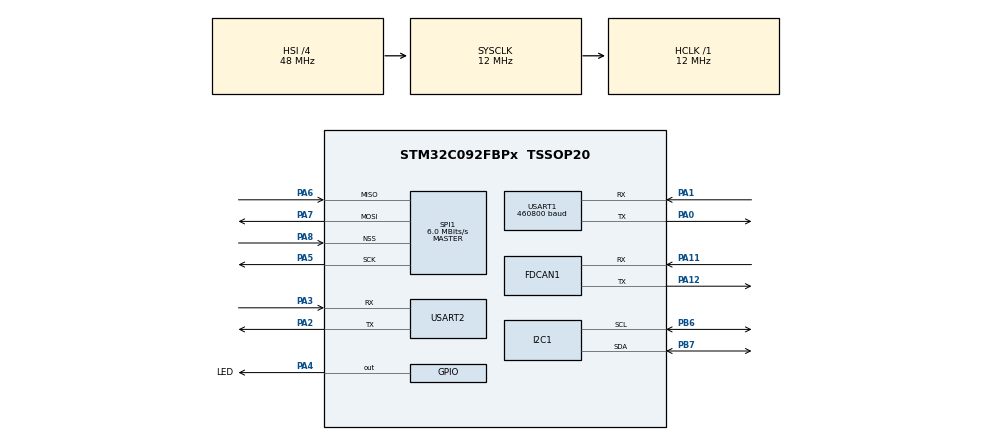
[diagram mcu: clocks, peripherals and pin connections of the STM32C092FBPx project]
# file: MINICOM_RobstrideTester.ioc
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Dma.Request0=USART1_TX
Dma.USART1_TX.0.Direction=DMA_MEMORY_TO_PERIPH
Dma.USART1_TX.0.EventEnable=DISABLE
Dma.USART1_TX.0.Instance=DMA1_Channel1
Dma.USART1_TX.0.MemDataAlignment=DMA_MDATAALIGN_BYTE
Dma.USART1_TX.0.MemInc=DMA_MINC_ENABLE
Dma.USART1_TX.0.Mode=DMA_NORMAL
Dma.USART1_TX.0.PeriphDataAlignment=DMA_PDATAALIGN_BYTE
Dma.USART1_TX.0.PeriphInc=DMA_PINC_DISABLE
Dma.USART1_TX.0.Polarity=HAL_DMAMUX_REQ_GEN_RISING
Dma.USART1_TX.0.Priority=DMA_PRIORITY_LOW
Dma.USART1_TX.0.RequestNumber=1
Dma.USART1_TX.0.SignalID=NONE
Dma.USART1_TX.0.SyncEnable=DISABLE
Dma.USART1_TX.0.SyncPolarity=HAL_DMAMUX_SYNC_NO_EVENT
Dma.USART1_TX.0.SyncRequestNumber=1
Dma.USART1_TX.0.SyncSignalID=NONE
FDCAN1.AutoRetransmission=DISABLE
FDCAN1.CalculateBaudRateNominal=1000000
FDCAN1.CalculateTimeBitNominal=1000
FDCAN1.CalculateTimeQuantumNominal=83.33333333333333
FDCAN1.NominalPrescaler=1
FDCAN1.NominalTimeSeg1=8
FDCAN1.NominalTimeSeg2=3
FDCAN1.StdFiltersNbr=1
I2C1.Timing=0x00402D41
Mcu.Family=STM32C0
Mcu.Name=STM32C092FBPx
Mcu.Package=TSSOP20
NVIC.DMA1_Channel1_IRQn=true\:0\:0\:false\:false\:true\:false\:true\:true
NVIC.FDCAN1_IT0_IRQn=true\:0\:0\:false\:false\:true\:true\:true\:true
NVIC.TIM16_IRQn=true\:0\:0\:false\:false\:true\:true\:true\:true
NVIC.USART1_IRQn=true\:0\:0\:false\:false\:true\:true\:true\:true
PA0.Mode=Asynchronous
PA0.Signal=USART1_TX
PA1.Mode=Asynchronous
PA1.Signal=USART1_RX
PA11\ [PA9].Mode=FDCAN_Activate
PA11\ [PA9].Signal=FDCAN1_RX
PA12\ [PA10].Mode=FDCAN_Activate
PA12\ [PA10].Signal=FDCAN1_TX
PA13.Mode=Serial_Wire
PA13.Signal=DEBUG_SWDIO
PA14-BOOT0.Mode=Serial_Wire
PA14-BOOT0.Signal=DEBUG_SWCLK
PA14-BOOT0__PA15.StandardMode=true
PA2.Mode=Asynchronous
PA2.Signal=USART2_TX
PA3.Mode=Asynchronous
PA3.Signal=USART2_RX
PA4.GPIO_Label=LED
PA4.Signal=GPIO_Output
PA5.Mode=Full_Duplex_Master
PA5.Signal=SPI1_SCK
PA6.Mode=Full_Duplex_Master
PA6.Signal=SPI1_MISO
PA7.Mode=Full_Duplex_Master
PA7.Signal=SPI1_MOSI
PA8.Mode=NSS_Signal_Hard_Input
PA8.Signal=SPI1_NSS
PB0__PB1__PB2__PA8.StandardMode=true
PB3__PB4__PB5__PB6.StandardMode=true
PB6.Mode=I2C
PB6.Signal=I2C1_SCL
PB7.Mode=I2C
PB7.Signal=I2C1_SDA
PB7__PB8.StandardMode=true
ProjectManager.HeapSize=0x200
ProjectManager.StackSize=0x400
ProjectManager.TargetToolchain=STM32CubeIDE
RCC.ADCFreq_Value=12000000
RCC.AHBFreq_Value=12000000
RCC.CortexFreq_Value=12000000
RCC.EXTERNAL_CLOCK_VALUE=12288000
RCC.HCLKFreq_Value=12000000
RCC.HSE_VALUE=8000000
RCC.HSI_VALUE=48000000
RCC.LSE_VALUE=32768
RCC.SYSCLKFreq_VALUE=12000000
SPI1.CalculateBaudRate=6.0 MBits/s
SPI1.Direction=SPI_DIRECTION_2LINES
SPI1.Mode=SPI_MODE_MASTER
SPI1.VirtualNSS=VM_NSSHARD
SPI1.VirtualType=VM_MASTER
TIM16.Period=1000-1
TIM16.Prescaler=12-1
USART1.BaudRate=460800
USART1.SwapParam=ADVFEATURE_SWAP_DISABLE
USART1.VirtualMode-Asynchronous=VM_ASYNC
USART2.VirtualMode-Asynchronous=VM_ASYNC
VP_TIM16_VS_ClockSourceINT.Mode=Enable_Timer
board=custom

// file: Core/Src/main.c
/* USER CODE BEGIN Header */
/**
  ******************************************************************************
  * @file           : main.c
  * @brief          : Main program body
  ******************************************************************************
  * @attention
  *
  * Copyright (c) 2026 STMicroelectronics.
  * All rights reserved.
  *
  * This software is licensed under terms that can be found in the LICENSE file
  * in the root directory of this software component.
  * If no LICENSE file comes with this software, it is provided AS-IS.
  *
  ******************************************************************************
  */
/* USER CODE END Header */
#include "main.h"

/* USER CODE BEGIN Includes */
#include "stdbool.h"
#include <stdlib.h>
#include <math.h>
/* USER CODE END Includes */

/* USER CODE BEGIN PTD */
typedef union {
    float f_val;
    uint8_t bytes[4];
} FloatConverter;
/* USER CODE END PTD */

/* USER CODE BEGIN PD */
#define SIN_TABLE_SIZE 1024
/* USER CODE END PD */

FDCAN_HandleTypeDef hfdcan1;

I2C_HandleTypeDef hi2c1;

SPI_HandleTypeDef hspi1;

TIM_HandleTypeDef htim16;

UART_HandleTypeDef huart1;
UART_HandleTypeDef huart2;
DMA_HandleTypeDef hdma_usart1_tx;

/* USER CODE BEGIN PV */

/*pc*/
uint8_t RxChar;
char RxBuffer[32];
int RxIndex=0;
volatile bool CanTxFlag = false;
volatile bool CanRxFlag = false;
uint32_t CanTxIde;
uint32_t CanTxId;
uint32_t CanTxDlc;
uint32_t CanRxIde;
uint32_t CanRxId;
uint32_t CanRxDlc;

/*can*/
FDCAN_TxHeaderTypeDef TxHeader;
uint8_t CanTxData[8] = {0};
uint32_t id;
uint8_t CanRxData[8];
FDCAN_RxHeaderTypeDef RxHeader;

/*Motor*/
int MotorId = 127;//0x7F
float TargetTorque = 0;
float Angle = 0;
float Velocity = 0;
float Torque = 0;
float Temp = 0;

/*PC*/
char tx_buffer[256];

/*その他*/
volatile bool state = false;
volatile int Timer_ms = 0;
float Freq = 4;
int McuId = 127;
int Hz = 1000;

float SinTable[SIN_TABLE_SIZE];
float Phase1 = 0.0f;
float Phase2 = 0.0f;
float Phase3 = 0.0f;
/* USER CODE END PV */

void SystemClock_Config(void);
static void MX_GPIO_Init(void);
static void MX_DMA_Init(void);
static void MX_FDCAN1_Init(void);
static void MX_I2C1_Init(void);
static void MX_SPI1_Init(void);
static void MX_USART2_UART_Init(void);
static void MX_USART1_UART_Init(void);
static void MX_TIM16_Init(void);
/* USER CODE BEGIN PFP */
static void FDCAN_Config(void){
	FDCAN_FilterTypeDef sFilterConfig;

	sFilterConfig.IdType = FDCAN_EXTENDED_ID;
	sFilterConfig.FilterIndex = 0;
	sFilterConfig.FilterType = FDCAN_FILTER_MASK;
	sFilterConfig.FilterConfig = FDCAN_FILTER_TO_RXFIFO0;
	sFilterConfig.FilterID1 = 0x02000000;
	sFilterConfig.FilterID2 = 0x1F000000;
	if(HAL_FDCAN_ConfigFilter(&hfdcan1, &sFilterConfig) != HAL_OK){
		Error_Handler();
	}
    /* Configure global filter to reject all non-matching frames */
    if(HAL_FDCAN_ConfigGlobalFilter(&hfdcan1, FDCAN_ACCEPT_IN_RX_FIFO0, FDCAN_ACCEPT_IN_RX_FIFO0, FDCAN_REJECT_REMOTE, FDCAN_REJECT_REMOTE) != HAL_OK){
        Error_Handler();
    }
	if(HAL_FDCAN_Start(&hfdcan1) != HAL_OK){
		Error_Handler();
	}
	if(HAL_FDCAN_ActivateNotification(&hfdcan1, FDCAN_IT_RX_FIFO0_NEW_MESSAGE, 0) != HAL_OK){
		Error_Handler();
	}
	TxHeader.Identifier = 0x123;
	TxHeader.IdType = FDCAN_EXTENDED_ID;
	TxHeader.TxFrameType = FDCAN_DATA_FRAME;
	TxHeader.DataLength = FDCAN_DLC_BYTES_8;
	TxHeader.ErrorStateIndicator = FDCAN_ESI_ACTIVE;
	TxHeader.BitRateSwitch = FDCAN_BRS_OFF;
	TxHeader.FDFormat = FDCAN_CLASSIC_CAN;
	TxHeader.TxEventFifoControl = FDCAN_NO_TX_EVENTS;
	TxHeader.MessageMarker = 0;
}
void HAL_FDCAN_RxFifo0Callback(FDCAN_HandleTypeDef *hfdcan, uint32_t RxFifo0ITs){
	uint8_t RxData[8];
	if((RxFifo0ITs & FDCAN_IT_RX_FIFO0_NEW_MESSAGE) != RESET){
		if(HAL_FDCAN_GetRxMessage(hfdcan, FDCAN_RX_FIFO0,&RxHeader, RxData)!= HAL_OK){
			Error_Handler();
		}
		CanRxIde = RxHeader.IdType;
		CanRxId = RxHeader.Identifier;
		CanRxDlc = RxHeader.DataLength;
		CanRxData[0] = RxData[0];                                                    // Data
		CanRxData[1] = RxData[1];
		CanRxData[2] = RxData[2];
		CanRxData[3] = RxData[3];
		CanRxData[4] = RxData[4];
		CanRxData[5] = RxData[5];
		CanRxData[6] = RxData[6];
		CanRxData[7] = RxData[7];
		CanRxFlag = true;
	}
}

void HAL_UART_RxCpltCallback(UART_HandleTypeDef *huart){
	if(huart->Instance==USART1){
		if(RxChar == 's'){//startのs
			state = 1;
			if (HAL_FDCAN_GetTxFifoFreeLevel(&hfdcan1) > 0) {
				TxHeader.Identifier = 0x3<<24 | McuId<<8 | MotorId;
				for(uint8_t i = 0; i<8; i++)CanTxData[i] = 0;
				if (HAL_FDCAN_AddMessageToTxFifoQ(&hfdcan1, &TxHeader, CanTxData) == HAL_OK) {
					//送信した時に行いたい処理
					HAL_GPIO_TogglePin(LED_GPIO_Port, LED_Pin);
				}
			}
		}else if(RxChar == 'e'){//endのe
			state = 0;
			Timer_ms=0;
			if (HAL_FDCAN_GetTxFifoFreeLevel(&hfdcan1) > 0) {
				TxHeader.Identifier = 0x4<<24 | McuId<<8 | MotorId;
				for(uint8_t i = 0; i<8; i++)CanTxData[i] = 0;
				if (HAL_FDCAN_AddMessageToTxFifoQ(&hfdcan1, &TxHeader, CanTxData) == HAL_OK) {
					//送信した時に行いたい処理
					HAL_GPIO_TogglePin(LED_GPIO_Port, LED_Pin);
				}
			}
		}
		HAL_UART_Receive_IT(&huart1, &RxChar,1);
	}
}

void HAL_TIM_PeriodElapsedCallback(TIM_HandleTypeDef *htim){
	if(htim == &htim16){//1msごとに呼び出される
		if(state){
			CanTxFlag = true;
			Timer_ms+=1000/Hz;//1msをプラス
		}else{
		}
	}
}

//uint32_t parseHex(char* str, int len){
//	uint32_t val = 0;
//	for(int i = 0;i<len;i++){
//		char c = str[i];
//		uint8_t v = 0;
//		if(c >= '0' && c<= '9') v = c - '0';//数字に変換
//		else if(c >= 'A' && c <= 'F') v = c - 'A' + 10;//大文字の16進数も10進数に変換
//		else if(c >= 'a' && c <= 'f') v = c - 'a' + 10;//小文字の16進数も10進数に変換
//		val = (val << 4) | v;
//	}
//	return val;
//}
/* USER CODE END PFP */

int main(void)
{

  /* MCU Configuration--------------------------------------------------------*/

  /* Reset of all peripherals, Initializes the Flash interface and the Systick. */
  HAL_Init();

  /* Configure the system clock */
  SystemClock_Config();

  /* Initialize all configured peripherals */
  MX_GPIO_Init();
  MX_DMA_Init();
  MX_FDCAN1_Init();
  MX_I2C1_Init();
  MX_SPI1_Init();
  MX_USART2_UART_Init();
  MX_USART1_UART_Init();
  MX_TIM16_Init();
  /* USER CODE BEGIN 2 */
  FDCAN_Config();
  HAL_UART_Receive_IT(&huart1, &RxChar, 1);
  HAL_TIM_Base_Start_IT(&htim16);

  if (HAL_FDCAN_GetTxFifoFreeLevel(&hfdcan1) > 0) {
	  TxHeader.Identifier = 0x3<<24 | McuId<<8 | MotorId;
	  for(uint8_t i = 0; i<8; i++)CanTxData[i] = 0;
	  if (HAL_FDCAN_AddMessageToTxFifoQ(&hfdcan1, &TxHeader, CanTxData) == HAL_OK) {
		  //送信した時に行いたい処理
		  HAL_GPIO_TogglePin(LED_GPIO_Port, LED_Pin);
	  }
  }

  for(int i = 0; i<SIN_TABLE_SIZE; i++){
	  SinTable[i] = sinf(2.0f*(float)M_PI*(float)i/(float)SIN_TABLE_SIZE);
  }
  /* USER CODE END 2 */

  /* Infinite loop */
  /* USER CODE BEGIN WHILE */
  while (1)
  {
	  if(CanRxFlag){
		  static uint8_t sendToPc[12];
		  sendToPc[0] = Timer_ms & 0x000000ff;
		  sendToPc[1] = (Timer_ms & 0x0000ff00) >> 8;
		  sendToPc[2] = (Timer_ms & 0x00ff0000) >> 16;
		  sendToPc[3] = (Timer_ms & 0xff000000) >> 24;
		  sendToPc[4] = CanRxData[0];
		  sendToPc[5] = CanRxData[1];
		  sendToPc[6] = CanRxData[2];
		  sendToPc[7] = CanRxData[3];
		  sendToPc[8] = CanRxData[4];
		  sendToPc[9] = CanRxData[5];
		  sendToPc[10] = CanRxData[6];
		  sendToPc[11] = CanRxData[7];
		  HAL_UART_Transmit(&huart1, sendToPc , 12, 100);//64bit + 32bit = 96bit = 12byte
//		  if(huart1.gState != HAL_UART_STATE_BUSY_TX){
//			  HAL_UART_Transmit_DMA(&huart1, sendToPc, 12);
//		  }
		  CanRxFlag=false;
	  }

	  if(CanTxFlag){
		  //目標トルクをマルチサイン波にしたければこちら
		  float delta_phase1 = Freq * 0.001f;
		  float delta_phase2 = 3.4f * Freq * 0.001f;
		  float delta_phase3 = 7.4f * Freq * 0.001f;

		  Phase1 += delta_phase1;
		  Phase2 += delta_phase2;
		  Phase3 += delta_phase3;

		  if(Phase1 >= 1.0f) Phase1 -= 1.0f;
		  if(Phase2 >= 1.0f) Phase2 -= 1.0f;
		  if(Phase3 >= 1.0f) Phase3 -= 1.0f;

		  int idx1 = (int)(Phase1 * SIN_TABLE_SIZE);
		  int idx2 = (int)(Phase2 * SIN_TABLE_SIZE);
		  int idx3 = (int)(Phase3 * SIN_TABLE_SIZE);

		  if(idx1 >= SIN_TABLE_SIZE) idx1 = 0;
		  if(idx2 >= SIN_TABLE_SIZE) idx2 = 0;
		  if(idx3 >= SIN_TABLE_SIZE) idx3 = 0;

		  TargetTorque = 1.0f*(SinTable[idx1] + 0.6f*SinTable[idx2] + 0.3f*SinTable[idx3]);

		  if (HAL_FDCAN_GetTxFifoFreeLevel(&hfdcan1) > 0) {
			  int targetTorque_int = (int)((TargetTorque + 5.5) * 65535 / 11);
			  TxHeader.Identifier = 0x1<<24 | targetTorque_int<<8 | MotorId;
			  for(uint8_t i = 0; i<8; i++)CanTxData[i] = 0;
			  if (HAL_FDCAN_AddMessageToTxFifoQ(&hfdcan1, &TxHeader, CanTxData) == HAL_OK) {
				  //送信した時に行いたい処理
				  HAL_GPIO_TogglePin(LED_GPIO_Port, LED_Pin);
			  }
		  }
		  TargetTorque = 1.0f*(SinTable[idx1] + 0.6f*SinTable[idx2] + 0.3f*SinTable[idx3]);
		  float targetTorque = 0;
		  CanTxFlag = false;

		  //目標スピードを階段状にしたければこちら
		  /*
		  float targetSpeed;
		  float kp = 0.0;
		  float kd = 0.1;
		  if(Timer_ms < 6000){
			  targetSpeed = 2.0f * (float)floor((float)Timer_ms * 0.001f);
		  }else if(Timer_ms < 10000){
			  targetSpeed = 2.0f * (float)floor(11.0f - (float)Timer_ms*0.001f);
		  }else{
			  targetSpeed = 0;
		  }
		  uint16_t targetSpeed_int = (uint16_t)((targetSpeed + 50.0f) / 100.0f * 65535.0f);
		  uint16_t targetTorque_int = 32768;
		  uint16_t targetAngle_int = 32768;
		  uint16_t kp_int = (uint16_t)(kp*65535.0f/500.0f);
		  uint16_t kd_int = (uint16_t)(kd*65535.0f/5.0f);
		  if (HAL_FDCAN_GetTxFifoFreeLevel(&hfdcan1) > 0) {
			  TxHeader.Identifier = 0x1<<24 | targetTorque_int<<8 | MotorId;
			  CanTxData[0] = (targetAngle_int & 0xff00)>>8;
			  CanTxData[1] = targetAngle_int & 0x00ff;
			  CanTxData[2] = (targetSpeed_int & 0xff00)>>8;
			  CanTxData[3] = targetSpeed_int & 0x00ff;
			  CanTxData[5] = (kp_int & 0xff00)>>8;
			  CanTxData[4] = kp_int & 0x00ff;
			  CanTxData[6] = (kd_int & 0xff00)>>8;
			  CanTxData[7] = kd_int & 0x00ff;
			  if (HAL_FDCAN_AddMessageToTxFifoQ(&hfdcan1, &TxHeader, CanTxData) == HAL_OK) {
				  //送信した時に行いたい処理
				  HAL_GPIO_TogglePin(LED_GPIO_Port, LED_Pin);
			  }
		  }
		  CanTxFlag = false;
		  */
	  }

	  // Bus-Offを検知したら、FDCANを一旦停止して再スタート（エラー解除）
	  if ((hfdcan1.Instance->PSR & FDCAN_PSR_BO) != 0) {
		  HAL_FDCAN_Stop(&hfdcan1);
		  HAL_FDCAN_Start(&hfdcan1);
	  }
//	  HAL_Delay(1);
    /* USER CODE END WHILE */

  }
}

void SystemClock_Config(void)
{
  RCC_OscInitTypeDef RCC_OscInitStruct = {0};
  RCC_ClkInitTypeDef RCC_ClkInitStruct = {0};

  __HAL_FLASH_SET_LATENCY(FLASH_LATENCY_0);

  /** Initializes the RCC Oscillators according to the specified parameters
  * in the RCC_OscInitTypeDef structure.
  */
  RCC_OscInitStruct.OscillatorType = RCC_OSCILLATORTYPE_HSI;
  RCC_OscInitStruct.HSIState = RCC_HSI_ON;
  RCC_OscInitStruct.HSIDiv = RCC_HSI_DIV4;
  RCC_OscInitStruct.HSICalibrationValue = RCC_HSICALIBRATION_DEFAULT;
  if (HAL_RCC_OscConfig(&RCC_OscInitStruct) != HAL_OK)
  {
    Error_Handler();
  }

  /** Initializes the CPU, AHB and APB buses clocks
  */
  RCC_ClkInitStruct.ClockType = RCC_CLOCKTYPE_HCLK|RCC_CLOCKTYPE_SYSCLK
                              |RCC_CLOCKTYPE_PCLK1;
  RCC_ClkInitStruct.SYSCLKSource = RCC_SYSCLKSOURCE_HSI;
  RCC_ClkInitStruct.SYSCLKDivider = RCC_SYSCLK_DIV1;
  RCC_ClkInitStruct.AHBCLKDivider = RCC_HCLK_DIV1;
  RCC_ClkInitStruct.APB1CLKDivider = RCC_APB1_DIV1;

  if (HAL_RCC_ClockConfig(&RCC_ClkInitStruct, FLASH_LATENCY_0) != HAL_OK)
  {
    Error_Handler();
  }
}

static void MX_FDCAN1_Init(void)
{

  hfdcan1.Instance = FDCAN1;
  hfdcan1.Init.ClockDivider = FDCAN_CLOCK_DIV1;
  hfdcan1.Init.FrameFormat = FDCAN_FRAME_CLASSIC;
  hfdcan1.Init.Mode = FDCAN_MODE_NORMAL;
  hfdcan1.Init.AutoRetransmission = DISABLE;
  hfdcan1.Init.TransmitPause = DISABLE;
  hfdcan1.Init.ProtocolException = DISABLE;
  hfdcan1.Init.NominalPrescaler = 1;
  hfdcan1.Init.NominalSyncJumpWidth = 1;
  hfdcan1.Init.NominalTimeSeg1 = 8;
  hfdcan1.Init.NominalTimeSeg2 = 3;
  hfdcan1.Init.DataPrescaler = 1;
  hfdcan1.Init.DataSyncJumpWidth = 1;
  hfdcan1.Init.DataTimeSeg1 = 1;
  hfdcan1.Init.DataTimeSeg2 = 1;
  hfdcan1.Init.StdFiltersNbr = 1;
  hfdcan1.Init.ExtFiltersNbr = 0;
  hfdcan1.Init.TxFifoQueueMode = FDCAN_TX_FIFO_OPERATION;
  if (HAL_FDCAN_Init(&hfdcan1) != HAL_OK)
  {
    Error_Handler();
  }

}

static void MX_I2C1_Init(void)
{

  hi2c1.Instance = I2C1;
  hi2c1.Init.Timing = 0x00402D41;
  hi2c1.Init.OwnAddress1 = 0;
  hi2c1.Init.AddressingMode = I2C_ADDRESSINGMODE_7BIT;
  hi2c1.Init.DualAddressMode = I2C_DUALADDRESS_DISABLE;
  hi2c1.Init.OwnAddress2 = 0;
  hi2c1.Init.OwnAddress2Masks = I2C_OA2_NOMASK;
  hi2c1.Init.GeneralCallMode = I2C_GENERALCALL_DISABLE;
  hi2c1.Init.NoStretchMode = I2C_NOSTRETCH_DISABLE;
  if (HAL_I2C_Init(&hi2c1) != HAL_OK)
  {
    Error_Handler();
  }

  /** Configure Analogue filter
  */
  if (HAL_I2CEx_ConfigAnalogFilter(&hi2c1, I2C_ANALOGFILTER_ENABLE) != HAL_OK)
  {
    Error_Handler();
  }

  /** Configure Digital filter
  */
  if (HAL_I2CEx_ConfigDigitalFilter(&hi2c1, 0) != HAL_OK)
  {
    Error_Handler();
  }

}

static void MX_SPI1_Init(void)
{

  /* SPI1 parameter configuration*/
  hspi1.Instance = SPI1;
  hspi1.Init.Mode = SPI_MODE_MASTER;
  hspi1.Init.Direction = SPI_DIRECTION_2LINES;
  hspi1.Init.DataSize = SPI_DATASIZE_4BIT;
  hspi1.Init.CLKPolarity = SPI_POLARITY_LOW;
  hspi1.Init.CLKPhase = SPI_PHASE_1EDGE;
  hspi1.Init.NSS = SPI_NSS_HARD_INPUT;
  hspi1.Init.BaudRatePrescaler = SPI_BAUDRATEPRESCALER_2;
  hspi1.Init.FirstBit = SPI_FIRSTBIT_MSB;
  hspi1.Init.TIMode = SPI_TIMODE_DISABLE;
  hspi1.Init.CRCCalculation = SPI_CRCCALCULATION_DISABLE;
  hspi1.Init.CRCPolynomial = 7;
  hspi1.Init.CRCLength = SPI_CRC_LENGTH_DATASIZE;
  hspi1.Init.NSSPMode = SPI_NSS_PULSE_ENABLE;
  if (HAL_SPI_Init(&hspi1) != HAL_OK)
  {
    Error_Handler();
  }

}

static void MX_TIM16_Init(void)
{

  htim16.Instance = TIM16;
  htim16.Init.Prescaler = 12-1;
  htim16.Init.CounterMode = TIM_COUNTERMODE_UP;
  htim16.Init.Period = 1000-1;
  htim16.Init.ClockDivision = TIM_CLOCKDIVISION_DIV1;
  htim16.Init.RepetitionCounter = 0;
  htim16.Init.AutoReloadPreload = TIM_AUTORELOAD_PRELOAD_DISABLE;
  if (HAL_TIM_Base_Init(&htim16) != HAL_OK)
  {
    Error_Handler();
  }

}

static void MX_USART1_UART_Init(void)
{

  huart1.Instance = USART1;
  huart1.Init.BaudRate = 460800;
  huart1.Init.WordLength = UART_WORDLENGTH_8B;
  huart1.Init.StopBits = UART_STOPBITS_1;
  huart1.Init.Parity = UART_PARITY_NONE;
  huart1.Init.Mode = UART_MODE_TX_RX;
  huart1.Init.HwFlowCtl = UART_HWCONTROL_NONE;
  huart1.Init.OverSampling = UART_OVERSAMPLING_16;
  huart1.Init.OneBitSampling = UART_ONE_BIT_SAMPLE_DISABLE;
  huart1.Init.ClockPrescaler = UART_PRESCALER_DIV1;
  huart1.AdvancedInit.AdvFeatureInit = UART_ADVFEATURE_NO_INIT;
  if (HAL_UART_Init(&huart1) != HAL_OK)
  {
    Error_Handler();
  }
  if (HAL_UARTEx_SetTxFifoThreshold(&huart1, UART_TXFIFO_THRESHOLD_1_8) != HAL_OK)
  {
    Error_Handler();
  }
  if (HAL_UARTEx_SetRxFifoThreshold(&huart1, UART_RXFIFO_THRESHOLD_1_8) != HAL_OK)
  {
    Error_Handler();
  }
  if (HAL_UARTEx_DisableFifoMode(&huart1) != HAL_OK)
  {
    Error_Handler();
  }

}

static void MX_USART2_UART_Init(void)
{

  huart2.Instance = USART2;
  huart2.Init.BaudRate = 115200;
  huart2.Init.WordLength = UART_WORDLENGTH_8B;
  huart2.Init.StopBits = UART_STOPBITS_1;
  huart2.Init.Parity = UART_PARITY_NONE;
  huart2.Init.Mode = UART_MODE_TX_RX;
  huart2.Init.HwFlowCtl = UART_HWCONTROL_NONE;
  huart2.Init.OverSampling = UART_OVERSAMPLING_16;
  huart2.Init.OneBitSampling = UART_ONE_BIT_SAMPLE_DISABLE;
  huart2.Init.ClockPrescaler = UART_PRESCALER_DIV1;
  huart2.AdvancedInit.AdvFeatureInit = UART_ADVFEATURE_NO_INIT;
  if (HAL_UART_Init(&huart2) != HAL_OK)
  {
    Error_Handler();
  }

}

static void MX_DMA_Init(void)
{

  /* DMA controller clock enable */
  __HAL_RCC_DMA1_CLK_ENABLE();

  /* DMA interrupt init */
  /* DMA1_Channel1_IRQn interrupt configuration */
  HAL_NVIC_SetPriority(DMA1_Channel1_IRQn, 0, 0);
  HAL_NVIC_EnableIRQ(DMA1_Channel1_IRQn);

}

static void MX_GPIO_Init(void)
{
  GPIO_InitTypeDef GPIO_InitStruct = {0};

  /* GPIO Ports Clock Enable */
  __HAL_RCC_GPIOB_CLK_ENABLE();
  __HAL_RCC_GPIOA_CLK_ENABLE();

  /*Configure GPIO pin Output Level */
  HAL_GPIO_WritePin(LED_GPIO_Port, LED_Pin, GPIO_PIN_RESET);

  /*Configure GPIO pin : LED_Pin */
  GPIO_InitStruct.Pin = LED_Pin;
  GPIO_InitStruct.Mode = GPIO_MODE_OUTPUT_PP;
  GPIO_InitStruct.Pull = GPIO_NOPULL;
  GPIO_InitStruct.Speed = GPIO_SPEED_FREQ_LOW;
  HAL_GPIO_Init(LED_GPIO_Port, &GPIO_InitStruct);

}

void Error_Handler(void)
{
  __disable_irq();
  while (1)
  {
  }
}
